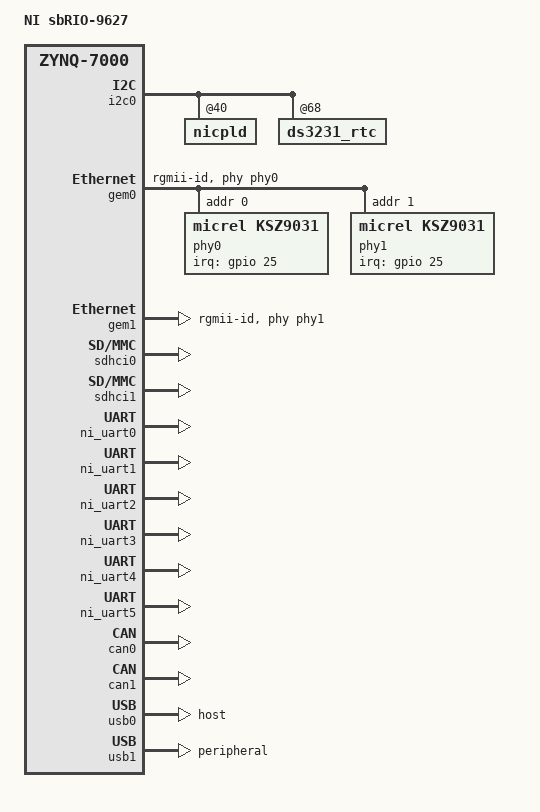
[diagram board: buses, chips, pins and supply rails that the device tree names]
/dts-v1/;
/include/ "ni-zynq.dtsi"

/* NIDEVCODE 77D5 */

/ {
	model = "NI sbRIO-9627";
	compatible = "ni,zynq", "xlnx,zynq-7000";

	amba {
		gpio: gpio@e000a000 {
			/* You can specify GPIO settings here:
			 *
			 *  gpioN-label      String label.
			 *  gpioN-direction  "input" or "output".
			 *  gpioN-settings   "output" - specifies the GPIO state as "high"
			 *                              or "low".
			 *                   "input"  - specifies GPIO interrupt settings as
			 *                              "none", "level-low", "level-high",
			 *                              "edge-falling", "edge-rising", or
			 *                              "edge-both".
			 */

			/* GPIO1 (MIO1) */
			gpio1-label     = "wdt_interrupt";
			gpio1-direction = "input";
			gpio1-settings  = "edge-falling";

			/* GPIO25 (MIO25) */
			gpio25-label     = "phy_interrupt";
			gpio25-direction = "input";
			gpio25-settings  = "level-low";

			/* GPIO54 (EMIO0) */
			gpio54-label     = "eth0_link_speed_1000";
			gpio54-direction = "output";
			gpio54-settings  = "low";

			/* GPIO55 (EMIO1) */
			gpio55-label     = "eth1_link_speed_1000";
			gpio55-direction = "output";
			gpio55-settings  = "low";
		};

		i2c0: i2c@e0004000 {
			nicpld@40 {
				watchdogs {
					boot-watchdog {
						interrupt-parent = <&gpio>;
						interrupts = <1 0>;
					};
				};

				leds {
					user1-0 {
						label = "nilrt:user1:green";
					};
					status-0 {
						label = "nilrt:status:yellow";
						max-brightness = <0xFFFF>;
					};
					eth0-0 {
						label = "nilrt:eth0:green";
						linux,default-trigger =
						  "e000b000.etherne:00:100Mb";
					};
					eth0-1 {
						label = "nilrt:eth0:yellow";
						linux,default-trigger =
						  "e000b000.etherne:00:Gb";
					};
					eth1-0 {
						label = "nilrt:eth1:green";
						linux,default-trigger =
						  "e000b000.etherne:01:100Mb";
					};
					eth1-1 {
						label = "nilrt:eth1:yellow";
						linux,default-trigger =
						  "e000b000.etherne:01:Gb";
					};
				};
			};

			ds3231_rtc@68 {
				status = "okay";
			};
		};
	};
};

&gem0 {
	status = "okay";
	clocks = <&clkc 30>, <&clkc 13>, <&clkc 15>;
	clock-names = "pclk", "hclk", "tx_clk";
	phy-handle = <&phy0>;
	phy-mode = "rgmii-id";
	cdns,emio-gpio-speed-1000 = <54>;

	#address-cells = <0x1>;
	#size-cells = <0x0>;

	phy0: phy@0 {
		compatible = "micrel,KSZ9031";
		device_type = "ethernet-phy";
		reg = <0x0>;
		/* Interrupt on GPIO25, shared with phy1. */
		interrupts = <25 0>;
		interrupt-parent = <&gpio>;
	};

	phy1: phy@1 {
		compatible = "micrel,KSZ9031";
		device_type = "ethernet-phy";
		reg = <0x1>;
		/* Interrupt on GPIO25, shared with phy0. */
		interrupts = <25 0>;
		interrupt-parent = <&gpio>;
	};
};

&gem1 {
	status = "okay";
	clocks = <&clkc 31>, <&clkc 14>, <&clkc 17>;
	clock-names = "pclk", "hclk", "tx_clk";
	phy-handle = <&phy1>;
	phy-mode = "rgmii-id";
	cdns,no_mdio_bus;
	cdns,emio-gpio-speed-1000 = <55>;
};

&sdhci0 {
	status = "okay";
};

&sdhci1 {
	status = "okay";
};

&ni_uart0 {
	status = "okay";
	transceiver = "RS-232";
};

&ni_uart1 {
	status = "okay";
	transceiver = "RS-232";
};

&ni_uart2 {
	status = "okay";
	transceiver = "RS-485";
};

&ni_uart3 {
	status = "okay";
	transceiver = "RS-232";
};

&ni_uart4 {
	status = "okay";
	transceiver = "RS-232";
};

&ni_uart5 {
	status = "okay";
	transceiver = "RS-232";
};

&can0 {
	status = "okay";
};

&can1 {
	status = "okay";
};

&usb0 {
	status = "okay";
	dr_mode = "host";
};

&usb1 {
	status = "okay";
	dr_mode = "peripheral";
};

&clkc {
	/* Enable fclk1 for serial. */
	fclk-enable = <0x2>;
};
